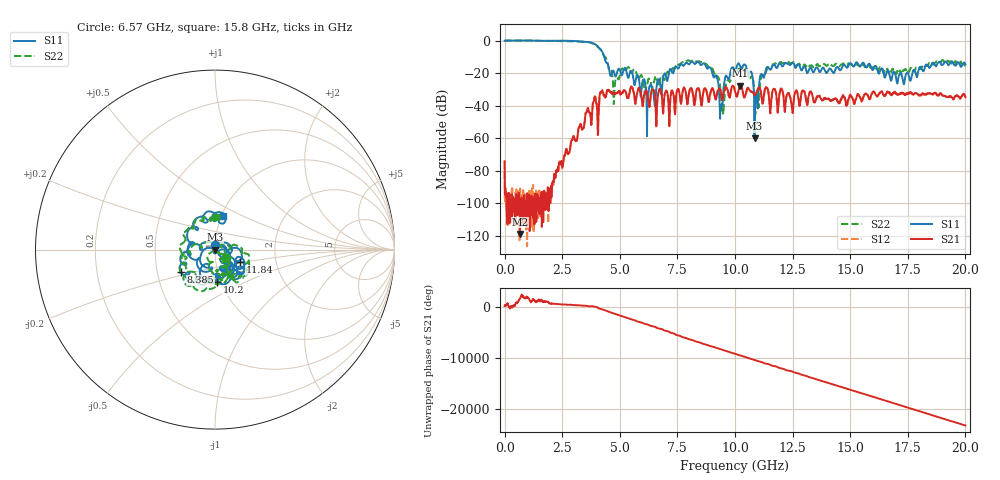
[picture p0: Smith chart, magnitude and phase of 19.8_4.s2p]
#  HZ  S  RI  R  50.00
! Rohde & Schwarz Vector Network Analyzer
! Rohde-Schwarz,ZNB20-2Port,1311601062102128,3.60
! Created: UTC 4/29/2024, 2:59:46 PM
! freq[Hz]  re:S11  im:S11  re:S21  im:S21  re:S12  im:S12  re:S22  im:S22
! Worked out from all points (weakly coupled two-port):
!   2007 points, 100 kHz to 20 GHz, reference 50 ohm
!   highest |S21| = -27.66 dB at 10.23 GHz (marker M1); lowest = -118.8 dB at 668.1 MHz (marker M2)
!   lowest |S11| = -60.1 dB at 10.85 GHz (marker M3), VSWR 1.00, Z = 50 - j0.0958 ohm
!   |S11| at or under -10 dB: 4.326 GHz to end of sweep
!   |S22| runs from -45.4 to 0.1 dB; largest |S21 - S12| = 0.0019
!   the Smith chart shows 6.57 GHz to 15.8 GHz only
!   S11 on the Smith chart (normalised r, x): 6.57 GHz: 1.00, +0.05; 8.385 GHz: 0.66, -0.17; 10.2 GHz: 0.96, -0.36; 11.84 GHz: 1.31, -0.18; 15.8 GHz: 1.02, +0.40
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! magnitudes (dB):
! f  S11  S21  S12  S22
! 100 kHz  0.0  -74.2  -74.3  0.1
! 668.1 MHz  0.1  -118.8  -91.8  0.0
! 2.223 GHz  -0.1  -81.8  -81.6  -0.3
! 3.34 GHz  -0.6  -53.9  -53.6  -0.6
! 4.217 GHz  -6.5  -30.9  -31.2  -6.6
! 4.776 GHz  -20.7  -32.4  -32.5  -28.9
! 5.354 GHz  -22.8  -35.3  -35.3  -16.4
! 6.57 GHz  -31.6  -46.0  -46.2  -22.2
! 6.67 GHz  -23.7  -32.3  -32.3  -27.2
! 8.385 GHz  -12.9  -29.4  -29.4  -13.0
! 9.183 GHz  -21.4  -35.5  -35.5  -22.7
! 9.402 GHz  -40.5  -33.1  -33.1  -36.0
! 10 GHz  -18.7  -31.1  -31.0  -19.2
! 10.2 GHz  -14.9  -28.8  -28.6  -17.2
! 10.23 GHz  -15.7  -27.7  -27.7  -16.8
! 10.69 GHz  -19.0  -31.4  -31.3  -22.5
! 10.85 GHz  -60.1  -33.5  -33.4  -35.3
! 11.84 GHz  -16.3  -43.0  -42.9  -14.7
! 13.34 GHz  -18.0  -32.7  -32.7  -15.2
! 15.8 GHz  -14.3  -34.9  -34.9  -14.9
! 16.67 GHz  -19.0  -31.7  -31.8  -20.5
! 20 GHz  -14.6  -34.7  -34.9  -14.4
